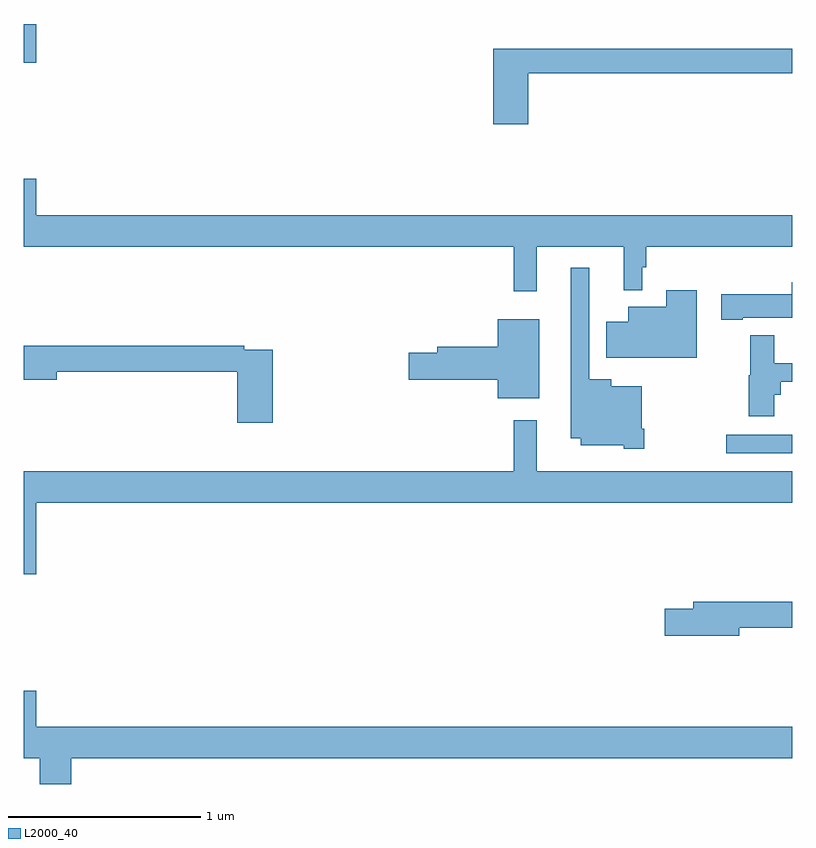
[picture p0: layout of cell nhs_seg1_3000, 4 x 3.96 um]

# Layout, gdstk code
import gdstk
lib = gdstk.Library(unit=1e-6, precision=1e-09)
def R(c, l, rs):  # rectangles x0, y0, x1, y1
    for r in rs: c.add(gdstk.rectangle(r[:2], r[2:], *l))
def P(c, l, *ps):  # polygons
    for p in ps: c.add(gdstk.Polygon(p, *l))
L2000_40 = (2000, 40)

nhs_seg1_3000 = lib.new_cell('nhs_seg1_3000')
R(nhs_seg1_3000, L2000_40, [(276.657,575.964,277,576.06), (273,577.998,273.064,578.199)])
P(nhs_seg1_3000, L2000_40, [(275.627,577.942),(277,577.942),(277,578.071),(275.444,578.071),(275.444,577.677),(275.627,577.677)],
  [(275.669,577.04),(276.122,577.04),(276.122,576.812),(276.219,576.812),(276.219,576.933),(276.239,576.933),(276.239,577.04),(277,577.04),(277,577.204),(273.064,577.204),(273.064,577.393),(273,577.393),(273,577.04),(275.551,577.04),(275.551,576.807),(275.669,576.807)],
  [(276.231,576.091),(276.217,576.091),(276.217,576.313),(276.058,576.313),(276.058,576.349),(275.943,576.349),(275.943,576.931),(275.846,576.931),(275.846,576.044),(275.9,576.044),(275.9,576.005),(276.123,576.005),(276.123,575.987),(276.231,575.987)],
  [(276.742,576.671),(277,576.671),(277,576.856),(276.998,576.856),(276.998,576.793),(276.63,576.793),(276.63,576.659),(276.742,576.659)],
  [(276.502,576.814),(276.344,576.814),(276.344,576.727),(276.146,576.727),(276.146,576.649),(276.032,576.649),(276.032,576.461),(276.502,576.461)],
  [(275.683,576.661),(275.468,576.661),(275.468,576.518),(275.153,576.518),(275.153,576.488),(275.004,576.488),(275.004,576.346),(275.468,576.346),(275.468,576.251),(275.683,576.251)],
  [(276.907,576.27),(276.941,576.27),(276.941,576.336),(277,576.336),(277,576.432),(276.907,576.432),(276.907,576.58),(276.781,576.58),(276.781,576.37),(276.773,576.37),(276.773,576.156),(276.907,576.156)],
  [(274.295,576.504),(274.148,576.504),(274.148,576.524),(273,576.524),(273,576.346),(273.172,576.346),(273.172,576.388),(274.112,576.388),(274.112,576.123),(274.295,576.123)],
  [(273.064,575.708),(277,575.708),(277,575.872),(275.67,575.872),(275.67,576.136),(275.551,576.136),(275.551,575.872),(273,575.872),(273,575.334),(273.064,575.334)],
  [(276.724,575.056),(277,575.056),(277,575.192),(276.485,575.192),(276.485,575.156),(276.336,575.156),(276.336,575.014),(276.724,575.014)],
  [(273.248,574.376),(277,574.376),(277,574.54),(273.064,574.54),(273.064,574.729),(273,574.729),(273,574.376),(273.083,574.376),(273.083,574.243),(273.248,574.243)])

lib.write_gds('nhs_seg1_3000.gds')
